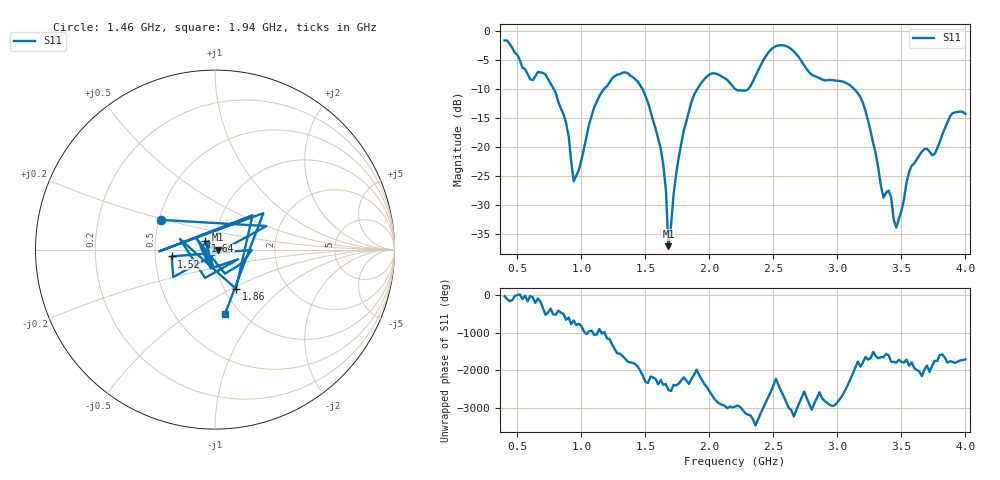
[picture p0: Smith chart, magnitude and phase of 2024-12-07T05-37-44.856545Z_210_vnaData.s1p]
!Created with skrf (http://scikit-rf.org).
# Hz S RI R 50.0
!freq ReS11 ImS11
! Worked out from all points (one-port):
!   181 points, 400 MHz to 4 GHz, reference 50 ohm
!   lowest |S11| = -37.0 dB at 1.68 GHz (marker M1), VSWR 1.03, Z = 51.4 - j0.000429 ohm
!   |S11| at or under -10 dB: 785.8 MHz to 1.174 GHz (388.4 MHz wide, 39.6 % of centre); 1.479 GHz to 1.904 GHz (425 MHz wide, 25.1 % of centre); 3.133 GHz to end of sweep (the widest 3 of 4)
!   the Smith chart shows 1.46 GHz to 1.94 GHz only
!   S11 on the Smith chart (normalised r, x): 1.46 GHz: 0.51, +0.19; 1.52 GHz: 0.61, -0.05; 1.64 GHz: 0.90, +0.08; 1.86 GHz: 1.13, -0.53; 1.94 GHz: 0.85, -0.70
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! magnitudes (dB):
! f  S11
! 400 MHz  -1.6
! 600 MHz  -8.2
! 720 MHz  -7.5
! 860 MHz  -14.3
! 940 MHz  -25.9
! 1.1 GHz  -13.1
! 1.3 GHz  -7.4
! 1.46 GHz  -9.3
! 1.52 GHz  -12.2
! 1.64 GHz  -23.0
! 1.66 GHz  -27.3
! 1.68 GHz  -37.0
! 1.76 GHz  -21.8
! 1.86 GHz  -12.1
! 1.94 GHz  -8.8
! 2.2 GHz  -9.9
! 2.3 GHz  -10.0
! 2.5 GHz  -2.8
! 2.66 GHz  -3.5
! 3.1 GHz  -9.3
! 3.2 GHz  -12.4
! 3.36 GHz  -28.7
! 3.4 GHz  -27.4
! 3.46 GHz  -33.8
! 3.56 GHz  -24.3
! 3.76 GHz  -21.1
! 3.9 GHz  -14.1
! 4 GHz  -14.2
